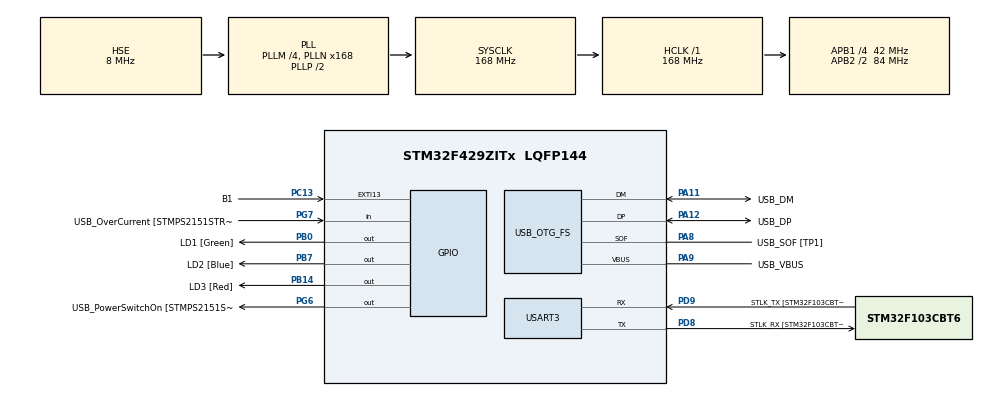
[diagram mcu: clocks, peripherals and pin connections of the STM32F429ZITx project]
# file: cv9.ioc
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Mcu.Family=STM32F4
Mcu.Name=STM32F429ZITx
Mcu.Package=LQFP144
NVIC.PriorityGroup=NVIC_PRIORITYGROUP_4
PA1.GPIO_Label=RMII_REF_CLK [LAN8742A-CZ-TR_REFCLK0]
PA1.Signal=ETH_REF_CLK
PA10.GPIO_Label=USB_ID
PA10.Signal=USB_OTG_FS_ID
PA11.GPIO_Label=USB_DM
PA11.Mode=Device_Only
PA11.Signal=USB_OTG_FS_DM
PA12.GPIO_Label=USB_DP
PA12.Mode=Device_Only
PA12.Signal=USB_OTG_FS_DP
PA13.GPIO_Label=TMS
PA13.Mode=Serial_Wire
PA13.Signal=SYS_JTMS-SWDIO
PA14.GPIO_Label=TCK
PA14.Mode=Serial_Wire
PA14.Signal=SYS_JTCK-SWCLK
PA2.GPIO_Label=RMII_MDIO [LAN8742A-CZ-TR_MDIO]
PA2.Signal=ETH_MDIO
PA7.GPIO_Label=RMII_CRS_DV [LAN8742A-CZ-TR_CRS_DV]
PA7.Signal=ETH_CRS_DV
PA8.GPIO_Label=USB_SOF [TP1]
PA8.Mode=Activate_SOF_FS
PA8.Signal=USB_OTG_FS_SOF
PA9.GPIO_Label=USB_VBUS
PA9.Mode=Activate_VBUS
PA9.Signal=USB_OTG_FS_VBUS
PB0.GPIO_Label=LD1 [Green]
PB0.Signal=GPIO_Output
PB13.GPIO_Label=RMII_TXD1 [LAN8742A-CZ-TR_TXD1]
PB13.Signal=ETH_TXD1
PB14.GPIO_Label=LD3 [Red]
PB14.Signal=GPIO_Output
PB7.GPIO_Label=LD2 [Blue]
PB7.Signal=GPIO_Output
PC1.GPIO_Label=RMII_MDC [LAN8742A-CZ-TR_MDC]
PC1.Signal=ETH_MDC
PC13.GPIO_Label=B1
PC13.Signal=GPXTI13
PC14/OSC32_IN.Mode=LSE-External-Oscillator
PC14/OSC32_IN.Signal=RCC_OSC32_IN
PC15/OSC32_OUT.Mode=LSE-External-Oscillator
PC15/OSC32_OUT.Signal=RCC_OSC32_OUT
PC4.GPIO_Label=RMII_RXD0 [LAN8742A-CZ-TR_RXD0]
PC4.Signal=ETH_RXD0
PC5.GPIO_Label=RMII_RXD1 [LAN8742A-CZ-TR_RXD1]
PC5.Signal=ETH_RXD1
PD8.GPIO_Label=STLK_RX [STM32F103CBT6_PA3]
PD8.Mode=Asynchronous
PD8.Signal=USART3_TX
PD9.GPIO_Label=STLK_TX [STM32F103CBT6_PA2]
PD9.Mode=Asynchronous
PD9.Signal=USART3_RX
PG11.GPIO_Label=RMII_TX_EN [LAN8742A-CZ-TR_TXEN]
PG11.Signal=ETH_TX_EN
PG13.GPIO_Label=RMII_TXD0 [LAN8742A-CZ-TR_TXD0]
PG13.Signal=ETH_TXD0
PG6.GPIO_Label=USB_PowerSwitchOn [STMPS2151STR_EN]
PG6.Signal=GPIO_Output
PG7.GPIO_Label=USB_OverCurrent [STMPS2151STR_FAULT]
PG7.Signal=GPIO_Input
PH0/OSC_IN.GPIO_Label=MCO [STM32F103CBT6_PA8]
PH0/OSC_IN.Mode=HSE-External-Clock-Source
PH0/OSC_IN.Signal=RCC_OSC_IN
PH1/OSC_OUT.Mode=HSE-External-Clock-Source
PH1/OSC_OUT.Signal=RCC_OSC_OUT
ProjectManager.HeapSize=0x200
ProjectManager.StackSize=0x400
ProjectManager.TargetToolchain=STM32CubeIDE
RCC.48MHZClocksFreq_Value=48000000
RCC.AHBFreq_Value=168000000
RCC.APB1CLKDivider=RCC_HCLK_DIV4
RCC.APB1Freq_Value=42000000
RCC.APB1TimFreq_Value=84000000
RCC.APB2CLKDivider=RCC_HCLK_DIV2
RCC.APB2Freq_Value=84000000
RCC.APB2TimCLKDivider=2
RCC.APB2TimFreq_Value=168000000
RCC.CortexFreq_Value=168000000
RCC.HCLKFreq_Value=168000000
RCC.HSE_VALUE=8000000
RCC.HSI_VALUE=16000000
RCC.PLLM=4
RCC.PLLMUL=RCC_PLL_MUL9
RCC.PLLN=168
RCC.PLLQ=7
RCC.PRESCALERUSB=RCC_USBCLKSOURCE_PLL_DIV1_5
RCC.SYSCLKFreq_VALUE=168000000
RCC.SYSCLKSource=RCC_SYSCLKSOURCE_PLLCLK
RCC.SYSCLKSourceVirtual=RCC_SYSCLKSOURCE_PLLCLK
RCC.USBFreq_Value=48000000
RCC.VCOOutputFreq_Value=336000000
USART3.VirtualMode=VM_ASYNC
USB_DEVICE.CLASS_NAME_FS=HID
USB_DEVICE.VirtualMode-HID_FS=Hid
USB_DEVICE.VirtualModeFS=Hid_FS
USB_OTG_FS.VirtualMode=Device_Only
VP_USB_DEVICE_VS_USB_DEVICE_HID_FS.Mode=HID_FS
board=NUCLEO-F429ZI

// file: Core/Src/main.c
/* USER CODE BEGIN Header */
/**
 ******************************************************************************
 * @file           : main.c
 * @brief          : Main program body of usb device controler
 ******************************************************************************
 */
/* USER CODE END Header */

#include "main.h"
#include "usb_device.h
/* USER CODE BEGIN Includes */
#include "usbd_hid.h"
#include <math.h>

/* USER CODE END Includes */

/* USER CODE BEGIN PD */
#define PI 3.1416
/* USER CODE END PD */

UART_HandleTypeDef huart3;

void SystemClock_Config(void);
static void MX_GPIO_Init(void);
static void MX_USART3_UART_Init(void);

/* USER CODE BEGIN 0 */
void step(int8_t x, int8_t y, _Bool btn) {
	uint8_t buff[5];
	buff[0] = 0x02;
	if (btn)
		buff[1] = 0x01;
	else
		buff[1] = 0x00;
	buff[2] = x;
	buff[3] = y;
	buff[4] = 0;
	USBD_HID_SendReport(&hUsbDeviceFS, buff, sizeof(buff));
	HAL_Delay(2 * USBD_HID_GetPollingInterval(&hUsbDeviceFS));

}
void circle(int8_t radius) {
	int8_t x, y;
	float angle = 0.0;
	float angle_stepsize = 0.1;
	while (angle < 2 * PI) {
		x = radius * cos(angle);
		y = radius * sin(angle);
		angle += angle_stepsize;
		step(x, y, 1);
	}
}

void mouth(int8_t radius) {
	int8_t x, y;
	float angle = 0.0;
	float angle_stepsize = 0.1;
	while (angle < 2 * PI) {
		x = radius * cos(angle);
		y = radius * sin(angle);
		angle += angle_stepsize;
		if (angle > 2.5 && angle < 4)
			step(x, y, 1);
	}
}

void keyboard(uint8_t key1, uint8_t key2) {
	uint8_t buff[9];
	buff[0] = 0x01;
	buff[1] = key2;
	buff[2] = 0;
	buff[3] = key1;
	buff[4] = 0;
	buff[5] = 0;
	buff[6] = 0;
	buff[7] = 0;
	buff[8] = 0;
	USBD_HID_SendReport(&hUsbDeviceFS, buff, sizeof(buff));
	HAL_Delay(3 * USBD_HID_GetPollingInterval(&hUsbDeviceFS));
	buff[1] = 0;
	buff[3] = 0;
	USBD_HID_SendReport(&hUsbDeviceFS, buff, sizeof(buff));
	HAL_Delay(3 * USBD_HID_GetPollingInterval(&hUsbDeviceFS));
}

inline static void smile(void) {
	//Open start and write mspaint then press enter (open painting)
	keyboard(0x15, 0x08); // Win + R
	keyboard(0x10, 0); // m
	keyboard(0x16, 0); // s
	keyboard(0x13, 0); // p
	keyboard(0x04, 0); // a
	keyboard(0x0C, 0); // i
	keyboard(0x11, 0); // n
	keyboard(0x17, 0); // t
	keyboard(0x28, 0); // Enter

	HAL_Delay(300);

	//draw smile
	step(0, 0, 0);
	circle(15); // head
	step(-25, 0, 0);
	step(0, 50, 0);
	circle(4); // first eye
	step(0, 0, 0);
	step(75, 0, 0);
	circle(4); // second eye
	step(0, 0, 0);
	step(-40, 0, 0);
	step(0, 0, 1);
	step(0, 80, 0);
	step(0, 0, 0);
	step(40, 0, 0);
	step(0, 0, 0);
	mouth(10); // mouth
	step(0, 0, 0);
	step(20, 0, 1);
	step(0, 0, 0);
	HAL_Delay(100);
}
/* USER CODE END 0 */

int main(void) {

	/* MCU Configuration--------------------------------------------------------*/

	/* Reset of all peripherals, Initializes the Flash interface and the Systick. */
	HAL_Init();

	/* Configure the system clock */
	SystemClock_Config();

	/* Initialize all configured peripherals */
	MX_GPIO_Init();
	MX_USART3_UART_Init();
	MX_USB_DEVICE_Init();

	/* Infinite loop */
	/* USER CODE BEGIN WHILE */
	while (1) {
		if (HAL_GPIO_ReadPin(B1_GPIO_Port, B1_Pin)) {
			//circle(50);   //draw circle
			//step(20, 40, 1);
			smile();  // call function which draw smile
		}
		/* USER CODE END WHILE */

	}
}

void SystemClock_Config(void) {
	RCC_OscInitTypeDef RCC_OscInitStruct = { 0 };
	RCC_ClkInitTypeDef RCC_ClkInitStruct = { 0 };

	/** Configure the main internal regulator output voltage
	 */
	__HAL_RCC_PWR_CLK_ENABLE();
	__HAL_PWR_VOLTAGESCALING_CONFIG(PWR_REGULATOR_VOLTAGE_SCALE1);
	/** Initializes the CPU, AHB and APB busses clocks
	 */
	RCC_OscInitStruct.OscillatorType = RCC_OSCILLATORTYPE_HSE;
	RCC_OscInitStruct.HSEState = RCC_HSE_BYPASS;
	RCC_OscInitStruct.PLL.PLLState = RCC_PLL_ON;
	RCC_OscInitStruct.PLL.PLLSource = RCC_PLLSOURCE_HSE;
	RCC_OscInitStruct.PLL.PLLM = 4;
	RCC_OscInitStruct.PLL.PLLN = 168;
	RCC_OscInitStruct.PLL.PLLP = RCC_PLLP_DIV2;
	RCC_OscInitStruct.PLL.PLLQ = 7;
	if (HAL_RCC_OscConfig(&RCC_OscInitStruct) != HAL_OK) {
		Error_Handler();
	}
	/** Initializes the CPU, AHB and APB busses clocks
	 */
	RCC_ClkInitStruct.ClockType = RCC_CLOCKTYPE_HCLK | RCC_CLOCKTYPE_SYSCLK
			| RCC_CLOCKTYPE_PCLK1 | RCC_CLOCKTYPE_PCLK2;
	RCC_ClkInitStruct.SYSCLKSource = RCC_SYSCLKSOURCE_PLLCLK;
	RCC_ClkInitStruct.AHBCLKDivider = RCC_SYSCLK_DIV1;
	RCC_ClkInitStruct.APB1CLKDivider = RCC_HCLK_DIV4;
	RCC_ClkInitStruct.APB2CLKDivider = RCC_HCLK_DIV2;

	if (HAL_RCC_ClockConfig(&RCC_ClkInitStruct, FLASH_LATENCY_5) != HAL_OK) {
		Error_Handler();
	}
}

static void MX_USART3_UART_Init(void) {

	huart3.Instance = USART3;
	huart3.Init.BaudRate = 115200;
	huart3.Init.WordLength = UART_WORDLENGTH_8B;
	huart3.Init.StopBits = UART_STOPBITS_1;
	huart3.Init.Parity = UART_PARITY_NONE;
	huart3.Init.Mode = UART_MODE_TX_RX;
	huart3.Init.HwFlowCtl = UART_HWCONTROL_NONE;
	huart3.Init.OverSampling = UART_OVERSAMPLING_16;
	if (HAL_UART_Init(&huart3) != HAL_OK) {
		Error_Handler();
	}

}

static void MX_GPIO_Init(void) {
	GPIO_InitTypeDef GPIO_InitStruct = { 0 };

	/* GPIO Ports Clock Enable */
	__HAL_RCC_GPIOC_CLK_ENABLE();
	__HAL_RCC_GPIOH_CLK_ENABLE();
	__HAL_RCC_GPIOA_CLK_ENABLE();
	__HAL_RCC_GPIOB_CLK_ENABLE();
	__HAL_RCC_GPIOD_CLK_ENABLE();
	__HAL_RCC_GPIOG_CLK_ENABLE();

	/*Configure GPIO pin Output Level */
	HAL_GPIO_WritePin(GPIOB, LD1_Pin | LD3_Pin | LD2_Pin, GPIO_PIN_RESET);

	/*Configure GPIO pin Output Level */
	HAL_GPIO_WritePin(USB_PowerSwitchOn_GPIO_Port, USB_PowerSwitchOn_Pin,
			GPIO_PIN_RESET);

	/*Configure GPIO pin : B1_Pin */
	GPIO_InitStruct.Pin = B1_Pin;
	GPIO_InitStruct.Mode = GPIO_MODE_IT_RISING;
	GPIO_InitStruct.Pull = GPIO_NOPULL;
	HAL_GPIO_Init(B1_GPIO_Port, &GPIO_InitStruct);

	/*Configure GPIO pins : RMII_MDC_Pin RMII_RXD0_Pin RMII_RXD1_Pin */
	GPIO_InitStruct.Pin = RMII_MDC_Pin | RMII_RXD0_Pin | RMII_RXD1_Pin;
	GPIO_InitStruct.Mode = GPIO_MODE_AF_PP;
	GPIO_InitStruct.Pull = GPIO_NOPULL;
	GPIO_InitStruct.Speed = GPIO_SPEED_FREQ_VERY_HIGH;
	GPIO_InitStruct.Alternate = GPIO_AF11_ETH;
	HAL_GPIO_Init(GPIOC, &GPIO_InitStruct);

	/*Configure GPIO pins : RMII_REF_CLK_Pin RMII_MDIO_Pin RMII_CRS_DV_Pin */
	GPIO_InitStruct.Pin = RMII_REF_CLK_Pin | RMII_MDIO_Pin | RMII_CRS_DV_Pin;
	GPIO_InitStruct.Mode = GPIO_MODE_AF_PP;
	GPIO_InitStruct.Pull = GPIO_NOPULL;
	GPIO_InitStruct.Speed = GPIO_SPEED_FREQ_VERY_HIGH;
	GPIO_InitStruct.Alternate = GPIO_AF11_ETH;
	HAL_GPIO_Init(GPIOA, &GPIO_InitStruct);

	/*Configure GPIO pins : LD1_Pin LD3_Pin LD2_Pin */
	GPIO_InitStruct.Pin = LD1_Pin | LD3_Pin | LD2_Pin;
	GPIO_InitStruct.Mode = GPIO_MODE_OUTPUT_PP;
	GPIO_InitStruct.Pull = GPIO_NOPULL;
	GPIO_InitStruct.Speed = GPIO_SPEED_FREQ_LOW;
	HAL_GPIO_Init(GPIOB, &GPIO_InitStruct);

	/*Configure GPIO pin : RMII_TXD1_Pin */
	GPIO_InitStruct.Pin = RMII_TXD1_Pin;
	GPIO_InitStruct.Mode = GPIO_MODE_AF_PP;
	GPIO_InitStruct.Pull = GPIO_NOPULL;
	GPIO_InitStruct.Speed = GPIO_SPEED_FREQ_VERY_HIGH;
	GPIO_InitStruct.Alternate = GPIO_AF11_ETH;
	HAL_GPIO_Init(RMII_TXD1_GPIO_Port, &GPIO_InitStruct);

	/*Configure GPIO pin : USB_PowerSwitchOn_Pin */
	GPIO_InitStruct.Pin = USB_PowerSwitchOn_Pin;
	GPIO_InitStruct.Mode = GPIO_MODE_OUTPUT_PP;
	GPIO_InitStruct.Pull = GPIO_NOPULL;
	GPIO_InitStruct.Speed = GPIO_SPEED_FREQ_LOW;
	HAL_GPIO_Init(USB_PowerSwitchOn_GPIO_Port, &GPIO_InitStruct);

	/*Configure GPIO pin : USB_OverCurrent_Pin */
	GPIO_InitStruct.Pin = USB_OverCurrent_Pin;
	GPIO_InitStruct.Mode = GPIO_MODE_INPUT;
	GPIO_InitStruct.Pull = GPIO_NOPULL;
	HAL_GPIO_Init(USB_OverCurrent_GPIO_Port, &GPIO_InitStruct);

	/*Configure GPIO pins : RMII_TX_EN_Pin RMII_TXD0_Pin */
	GPIO_InitStruct.Pin = RMII_TX_EN_Pin | RMII_TXD0_Pin;
	GPIO_InitStruct.Mode = GPIO_MODE_AF_PP;
	GPIO_InitStruct.Pull = GPIO_NOPULL;
	GPIO_InitStruct.Speed = GPIO_SPEED_FREQ_VERY_HIGH;
	GPIO_InitStruct.Alternate = GPIO_AF11_ETH;
	HAL_GPIO_Init(GPIOG, &GPIO_InitStruct);

}

void Error_Handler(void) {
}

/************************ (C) COPYRIGHT STMicroelectronics *****END OF FILE****/
